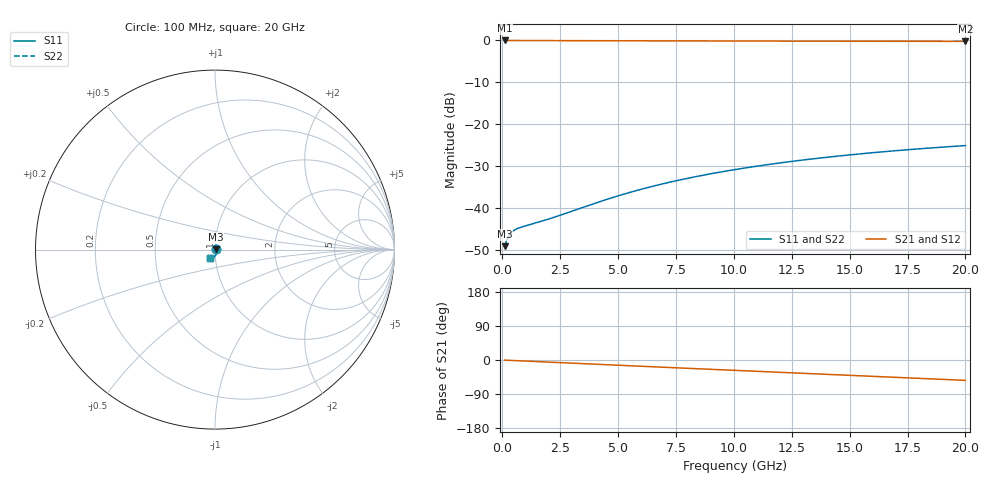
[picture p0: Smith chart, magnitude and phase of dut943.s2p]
! Touchstone file exported from HFSS 2026.1.0
!  File:  C:/ffzhzh/LocalFiles/Ansys_Project_Files/temp_train_BSMRDL_943_1783172102_43440.aedt
!  Generated:  09:36:28 PM Jul  4, 2026
!  Design:  BSMRDL
!  Project:  temp_train_BSMRDL_943_1783172102_43440
! Variables:
!  h_bsmrdl = 4.31um
!  h_ox = 20um
!  h_rdl = 5um
!  h_sub = 80um
!  h_tmrdl = 5um
!  h_tsv = 80um
!  h_via = 3um
!  l_bsmrdl = 964.96um
!  l_sub = 1364.96um
!  l_tmrdl = 200um
!  m_sub = 200um
!  pitch = 30.76um
!  r_tsv = 6um
!  s_tmrdl = 10um
!  w_bsmrdl = 26.54um
!  w_sub = 500um
!  w_tmrdl = 12um
!  x_tsv_center1 = 206um
!  x_tsv_center2 = 1197.5um
!  x_tsv_center3 = 1409.5um
!  x_tsv_center4 = 2401um
!  x_tsv_center5 = 2613um
!  x_tsv_center6 = 3604.5um
# GHz S MA R 50.000000
! Terminal data exported
! Port[1] = BSM_RDL1_1_T1
! Port[2] = BSM_RDL1_1_T2
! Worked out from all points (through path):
!   200 points, 100 MHz to 20 GHz, reference 50 ohm
!   highest |S21| = -0.03 dB at 100 MHz (marker M1); lowest = -0.3 dB at 20 GHz (marker M2)
!   group delay of S21, straight-line fit = 7.43 ps
!   lowest |S11| = -49.1 dB at 100 MHz (marker M3), VSWR 1.01, Z = 50.3 + j0.0771 ohm
!   |S11| at or under -10 dB: start of sweep to end of sweep
!   |S22| runs from -49.1 to -25.1 dB; largest |S21 - S12| = 3.2e-14
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0.1  0.00349 12.7  0.9966 -0.3  0.9966 -0.3  0.00349 12.7
! Gamma 0 0 0 0
! Port Impedance 50 0 50 0
0.2  0.004177 15.7  0.996 -0.6  0.996 -0.6  0.004177 15.7
0.3  0.004736 13.8  0.9954 -0.9  0.9954 -0.9  0.004736 13.8
0.4  0.005121 10.7  0.995 -1.2  0.995 -1.2  0.005121 10.7
0.5  0.005386 7.7  0.9947 -1.5  0.9947 -1.5  0.005386 7.7
0.6  0.005579 5.0  0.9945 -1.7  0.9945 -1.7  0.005579 5.0
0.9  0.00598 -1.7  0.9941 -2.6  0.9941 -2.6  0.00598 -1.7
2.1  0.007506 -19.3  0.9927 -5.9  0.9927 -5.9  0.007504 -19.3
3.5  0.01019 -34.3  0.9907 -9.8  0.9907 -9.8  0.01019 -34.3
4.4  0.01235 -42.5  0.9892 -12.2  0.9892 -12.2  0.01234 -42.5
5.2  0.01445 -49.1  0.988 -14.4  0.988 -14.4  0.01444 -49.1
6  0.01668 -55.1  0.9867 -16.5  0.9867 -16.5  0.01666 -55.1
6.8  0.01899 -60.7  0.9855 -18.7  0.9855 -18.7  0.01896 -60.6
7.6  0.02134 -65.8  0.9844 -20.8  0.9844 -20.8  0.02132 -65.7
8.4  0.02373 -70.5  0.9833 -23.0  0.9833 -23.0  0.0237 -70.4
10.1  0.02882 -79.6  0.9812 -27.5  0.9812 -27.5  0.02878 -79.5
11.7  0.03355 -87.2  0.9794 -31.8  0.9794 -31.8  0.0335 -87.1
13.4  0.03845 -94.5  0.9776 -36.3  0.9776 -36.3  0.03839 -94.4
15  0.0429 -100.9  0.9759 -40.5  0.9759 -40.5  0.04283 -100.8
16.7  0.04742 -107.4  0.9743 -45.0  0.9743 -45.0  0.04733 -107.2
18.3  0.05143 -113.1  0.9727 -49.2  0.9727 -49.2  0.05133 -112.9
20  0.0554 -118.9  0.9711 -53.7  0.9711 -53.7  0.05529 -118.7
